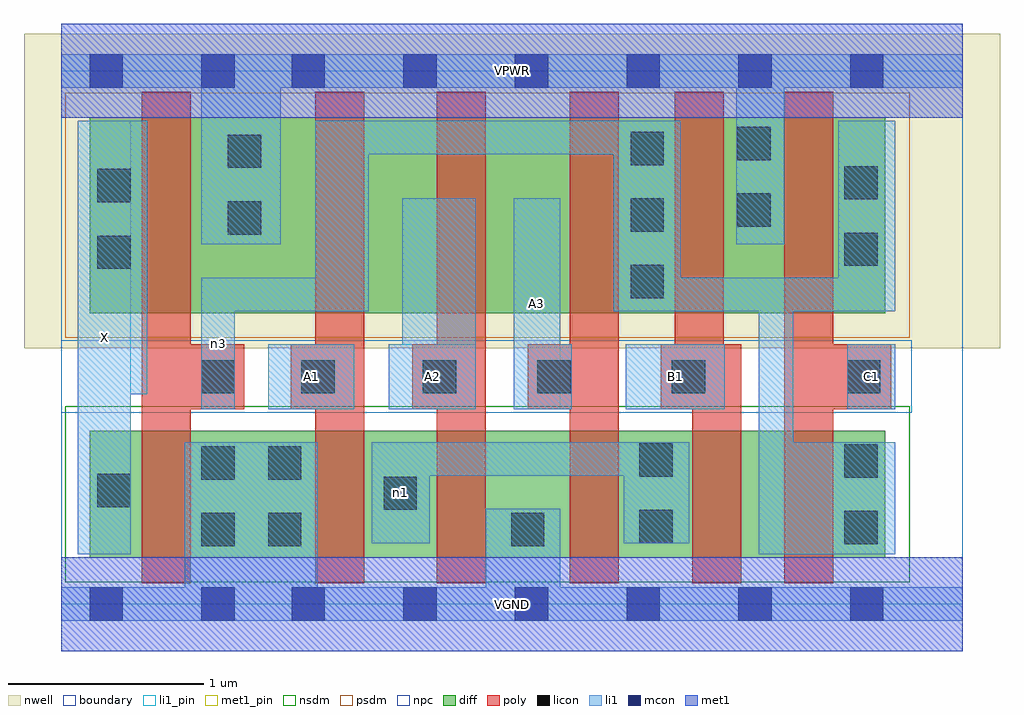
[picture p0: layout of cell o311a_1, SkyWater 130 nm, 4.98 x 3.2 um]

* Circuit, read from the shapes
.subckt o311a_1 A1 A2 A3 B1 C1 VGND VPWR X n1 n3
XM1 VGND n3 X VSUBS sky130_fd_pr__nfet_01v8 w=0.65 l=0.25
XM2 n1 A1 VGND VSUBS sky130_fd_pr__nfet_01v8 w=0.65 l=0.25
XM3 VGND A2 n1 VSUBS sky130_fd_pr__nfet_01v8 w=0.65 l=0.25
XM4 n1 A3 VGND VSUBS sky130_fd_pr__nfet_01v8 w=0.65 l=0.25
XM5 n2 B1 n1 VSUBS sky130_fd_pr__nfet_01v8 w=0.65 l=0.25
XM6 n3 C1 n2 VSUBS sky130_fd_pr__nfet_01v8 w=0.65 l=0.25
XM7 VPWR n3 X n4 sky130_fd_pr__pfet_01v8 w=1 l=0.25
XM8 n5 A1 VPWR n4 sky130_fd_pr__pfet_01v8 w=1 l=0.25
XM9 n6 A2 n5 n4 sky130_fd_pr__pfet_01v8 w=1 l=0.25
XM10 n3 A3 n6 n4 sky130_fd_pr__pfet_01v8 w=1 l=0.25
XM11 VPWR B1 n3 n4 sky130_fd_pr__pfet_01v8 w=1 l=0.25
XM12 n3 C1 VPWR n4 sky130_fd_pr__pfet_01v8 w=1 l=0.25
.ends

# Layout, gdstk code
import gdstk
lib = gdstk.Library(unit=1e-6, precision=1e-09)
def R(c, l, rs):  # rectangles x0, y0, x1, y1
    for r in rs: c.add(gdstk.rectangle(r[:2], r[2:], *l))
def A(c, l, x, y, w, h, nx, ny, dx, dy):  # array of equal rectangles
    R(c, l, [(x+i*dx, y+j*dy, x+i*dx+w, y+j*dy+h) for i in range(nx) for j in range(ny)])
nwell = (64, 20)
diff = (65, 20)
poly = (66, 20)
licon = (66, 44)
li1_pin = (67, 16)
li1 = (67, 20)
mcon = (67, 44)
met1_pin = (68, 16)
met1 = (68, 20)
nsdm = (93, 44)
psdm = (94, 20)
npc = (95, 20)
boundary = (235, 4)

o311a_1 = lib.new_cell('o311a_1')
R(o311a_1, nwell, [(-0.19,1.305,4.79,2.91), (0,1.305,4.6,2.91)])
R(o311a_1, diff, [(0.145,0.235,4.205,0.885), (0.145,1.485,4.205,2.485)])
R(o311a_1, poly, [(0.41,0.105,0.66,2.615), (1.295,0.105,1.545,2.615), (1.915,0.105,2.165,2.615), (2.595,0.105,2.845,2.615), (3.22,0.105,3.47,1.325), (3.69,0.105,3.94,2.615), (0.41,0.995,0.935,1.325), (1.17,0.995,1.545,1.325), (1.79,0.995,2.165,1.325), (2.38,0.995,2.845,1.325), (3.06,0.995,3.47,1.325), (3.13,0.995,3.38,2.615), (3.69,0.995,4.235,1.325)])
A(o311a_1, licon, 2.905, 1.56, 0.17, 0.17, 1, 3, 0, 0.34)
R(o311a_1, licon, [(0.715,0.295,0.885,0.465), (1.055,0.295,1.225,0.465), (2.295,0.295,2.465,0.465), (3.995,0.305,4.165,0.475), (2.95,0.31,3.12,0.48), (1.645,0.48,1.815,0.65), (0.185,0.495,0.355,0.665), (0.715,0.635,0.885,0.805), (1.055,0.635,1.225,0.805), (3.995,0.645,4.165,0.815), (2.95,0.65,3.12,0.82), (0.715,1.075,0.885,1.245), (1.225,1.075,1.395,1.245), (1.845,1.075,2.015,1.245), (2.43,1.075,2.6,1.245), (3.115,1.075,3.285,1.245), (4.01,1.075,4.18,1.245), (0.185,1.71,0.355,1.88), (3.995,1.725,4.165,1.895), (0.85,1.885,1.02,2.055), (3.45,1.925,3.62,2.095), (0.185,2.05,0.355,2.22), (3.995,2.065,4.165,2.235), (0.85,2.225,1.02,2.395), (3.45,2.265,3.62,2.435)])
R(o311a_1, li1_pin, [(0.085,0.255,0.355,2.465), (1.055,0.995,1.495,1.325), (1.67,0.995,2.115,1.325), (2.31,0.995,2.545,2.07), (2.88,0.995,3.385,1.325), (4.01,0.995,4.255,1.325)])
R(o311a_1, li1, [(0,-0.085,4.6,0.085), (0.63,-0.085,1.31,0.825), (2.165,-0.085,2.545,0.485), (0.085,0.255,0.355,2.465), (3.56,0.255,4.255,0.825), (3.56,0.255,3.735,1.665), (1.585,0.31,1.88,0.825), (2.87,0.31,3.205,0.825), (1.585,0.655,3.205,0.825), (0.715,0.995,0.885,1.665), (1.055,0.995,1.495,1.325), (1.67,0.995,2.115,1.325), (1.74,0.995,2.115,2.07), (2.31,0.995,2.545,2.07), (2.31,0.995,2.605,1.325), (2.88,0.995,3.385,1.325), (4.01,0.995,4.255,1.325), (0.085,1.07,0.44,2.465), (0.715,1.495,1.57,1.665), (1.295,1.495,1.57,2.465), (2.82,1.495,3.16,2.465), (2.82,1.495,4.255,1.665), (3.965,1.495,4.255,2.465), (0.715,1.835,1.12,2.805), (3.445,1.835,3.69,2.805), (1.295,2.295,3.16,2.465), (0,2.635,4.6,2.805)])
A(o311a_1, mcon, 1.175, -0.085, 0.17, 0.17, 6, 2, 0.57, 2.72)
R(o311a_1, mcon, [(0.145,-0.085,0.315,0.085), (0.715,-0.085,0.885,0.085), (0.145,2.635,0.315,2.805), (0.715,2.635,0.885,2.805)])
R(o311a_1, met1_pin, [(0,-0.24,4.6,0.24), (0,2.48,4.6,2.96)])
R(o311a_1, met1, [(0,-0.24,4.6,0.24), (0,2.48,4.6,2.96)])
R(o311a_1, nsdm, [(0.02,0.11,4.33,1.01)])
R(o311a_1, psdm, [(0.02,1.36,4.33,2.61)])
R(o311a_1, npc, [(0,0.975,4.34,1.345)])
R(o311a_1, boundary, [(0,0,4.6,2.72)])
o311a_1.add(gdstk.Label('A1', (1.275,1.16), layer=67, texttype=5))
o311a_1.add(gdstk.Label('A2', (1.892,1.16), layer=67, texttype=5))
o311a_1.add(gdstk.Label('A3', (2.427,1.532), layer=67, texttype=5))
o311a_1.add(gdstk.Label('B1', (3.132,1.16), layer=67, texttype=5))
o311a_1.add(gdstk.Label('C1', (4.132,1.16), layer=67, texttype=5))
o311a_1.add(gdstk.Label('X', (0.22,1.36), layer=67, texttype=5))
o311a_1.add(gdstk.Label('n1', (1.732,0.567), layer=67, texttype=5))
o311a_1.add(gdstk.Label('n3', (0.8,1.33), layer=67, texttype=5))
o311a_1.add(gdstk.Label('VPWR', (2.3,2.72), layer=68, texttype=5))
o311a_1.add(gdstk.Label('VGND', (2.3,0), layer=68, texttype=5))
o311a_1.add(gdstk.Label('A1', (1.275,1.16), layer=67, texttype=16))
o311a_1.add(gdstk.Label('A2', (1.892,1.16), layer=67, texttype=16))
o311a_1.add(gdstk.Label('A3', (2.427,1.532), layer=67, texttype=16))
o311a_1.add(gdstk.Label('B1', (3.132,1.16), layer=67, texttype=16))
o311a_1.add(gdstk.Label('C1', (4.132,1.16), layer=67, texttype=16))
o311a_1.add(gdstk.Label('X', (0.22,1.36), layer=67, texttype=16))
o311a_1.add(gdstk.Label('VPWR', (2.3,2.72), layer=68, texttype=16))
o311a_1.add(gdstk.Label('VGND', (2.3,0), layer=68, texttype=16))

lib.write_gds('o311a_1.gds')
